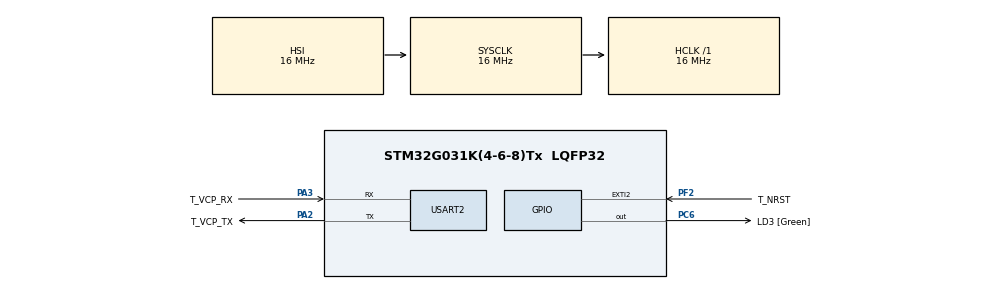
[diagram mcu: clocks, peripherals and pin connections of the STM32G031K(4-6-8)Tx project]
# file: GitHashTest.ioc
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ADC1.Channel-0\#ChannelRegularConversion=ADC_CHANNEL_TEMPSENSOR
ADC1.NbrOfConversionFlag=1
ADC1.Rank-0\#ChannelRegularConversion=1
ADC1.SamplingTime-0\#ChannelRegularConversion=ADC_SAMPLINGTIME_COMMON_1
ADC1.SamplingTimeCommon1=ADC_SAMPLETIME_79CYCLES_5
ADC1.SamplingTimeCommon2=ADC_SAMPLETIME_79CYCLES_5
ADC1.SelectedChannel=ADC_CHANNEL_TEMPSENSOR|ADC_CHANNEL_VREFINT
ADC1.master=1
Mcu.Family=STM32G0
Mcu.Name=STM32G031K(4-6-8)Tx
Mcu.Package=LQFP32
PA13.GPIO_Label=T_JTMS
PA13.Mode=Serial_Wire
PA13.Signal=SYS_SWDIO
PA14-BOOT0.GPIO_Label=T_JTCK
PA14-BOOT0.Mode=Serial_Wire
PA14-BOOT0.Signal=SYS_SWCLK
PA2.GPIO_Label=T_VCP_TX
PA2.GPIO_PuPd=GPIO_PULLUP
PA2.Mode=Asynchronous
PA2.Signal=USART2_TX
PA3.GPIO_Label=T_VCP_RX
PA3.GPIO_PuPd=GPIO_PULLUP
PA3.Mode=Asynchronous
PA3.Signal=USART2_RX
PC14-OSC32_IN\ (PC14).Mode=LSE-External-Oscillator
PC14-OSC32_IN\ (PC14).Signal=RCC_OSC32_IN
PC15-OSC32_OUT\ (PC15).Mode=LSE-External-Oscillator
PC15-OSC32_OUT\ (PC15).Signal=RCC_OSC32_OUT
PC6.GPIO_Label=LD3 [Green]
PC6.Signal=GPIO_Output
PF2\ -\ NRST.GPIO_Label=T_NRST
PF2\ -\ NRST.Signal=GPXTI2
ProjectManager.HeapSize=0x200
ProjectManager.StackSize=0x400
ProjectManager.TargetToolchain=CMake
RCC.AHBFreq_Value=16000000
RCC.CortexFreq_Value=16000000
RCC.EXTERNAL_CLOCK_VALUE=12288000
RCC.HCLKFreq_Value=16000000
RCC.HSE_VALUE=8000000
RCC.HSI_VALUE=16000000
RCC.SYSCLKFreq_VALUE=16000000
RCC.VCOOutputFreq_Value=128000000
USART2.VirtualMode-Asynchronous=VM_ASYNC
USART2.WordLength=WORDLENGTH_8B
VP_ADC1_TempSens_Input.Mode=IN-TempSens
VP_ADC1_Vref_Input.Mode=IN-Vrefint
board=NUCLEO-G031K8

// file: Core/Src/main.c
/* USER CODE BEGIN Header */
/**
  ******************************************************************************
  * @file           : main.c
  * @brief          : Main program body
  ******************************************************************************
  * @attention
  *
  * Copyright (c) 2025 STMicroelectronics.
  * All rights reserved.
  *
  * This software is licensed under terms that can be found in the LICENSE file
  * in the root directory of this software component.
  * If no LICENSE file comes with this software, it is provided AS-IS.
  *
  ******************************************************************************
  */
/* USER CODE END Header */
#include "main.h"
#include "adc.h"
#include "usart.h"
#include "gpio.h"

/* USER CODE BEGIN Includes */
#include "git_hash.h"
#include <stdio.h>
/* USER CODE END Includes */

/* USER CODE BEGIN PD */
#define MAX_SYSTIME_STR_LEN 250
/* USER CODE END PD */

/* USER CODE BEGIN PV */
uint32_t systime = 0;
/* USER CODE END PV */

void SystemClock_Config(void);
/* USER CODE BEGIN PFP */
void send_uart_new_line(UART_HandleTypeDef *, uint32_t);

void send_systime(UART_HandleTypeDef *, uint32_t);
void send_int(UART_HandleTypeDef *, char*, uint32_t);
void send_float(UART_HandleTypeDef *, char*, float);
uint16_t poll_adc_channel(uint32_t);
/* USER CODE END PFP */

/* USER CODE BEGIN 0 */
const char git_hash[GIT_HASH_LEN] = GIT_COMMIT_HASH;
const char git_branch[GIT_BRANCH_LEN] = GIT_BRANCH;
const char cat[] =  "meow";
uint16_t ts_30_val = 0;//TS_CAL_30_VAL;
uint16_t ts_130_val = 0;//TS_CAL_130_VAL;
uint16_t vref_val = 0;//VREF_CAL_30_VAL;
uint16_t temp_sensor = 0, vref_int = 0;
char temp_label[] = "temp raw";
char vref_label[] = "vref raw";
char nice_vref[] = "Vref value";
char nice_temp[] = "Temp value";
float curr_temp, curr_vref;
/* USER CODE END 0 */

int main(void)
{

  /* MCU Configuration--------------------------------------------------------*/

  /* Reset of all peripherals, Initializes the Flash interface and the Systick. */
  HAL_Init();

  /* USER CODE BEGIN Init */
  ts_30_val = TS_CAL_30_VAL;
  ts_130_val = TS_CAL_130_VAL;
  vref_val = VREF_CAL_30_VAL;
  /* USER CODE END Init */

  /* Configure the system clock */
  SystemClock_Config();

  /* Initialize all configured peripherals */
  MX_GPIO_Init();
  MX_USART2_UART_Init();
  MX_ADC1_Init();

  /* Infinite loop */
  /* USER CODE BEGIN WHILE */
  HAL_UART_Transmit(&huart2, (const uint8_t*) cat, sizeof(cat), 100);
  while (1)
  {
    /* USER CODE END WHILE */

    /* USER CODE BEGIN 3 */
    HAL_GPIO_TogglePin(LD3_GPIO_Port, LD3_Pin);
    HAL_UART_Transmit(&huart2, (const uint8_t*) git_hash, sizeof(git_hash), 100);
    send_uart_new_line(&huart2, 1);
    HAL_UART_Transmit(&huart2, (const uint8_t*) git_branch, sizeof(git_branch), 100);
    send_uart_new_line(&huart2, 1);

    send_systime(&huart2, systime);
    // HAL_UART_Transmit(&huart2, (const uint8_t*) systime, sizeof(systime), 100);
    send_uart_new_line(&huart2, 1);

    vref_int = poll_adc_channel(ADC_CHANNEL_VREFINT);
    temp_sensor = poll_adc_channel(ADC_CHANNEL_TEMPSENSOR);

    send_int(&huart2, vref_label, (uint32_t) vref_int);
    send_uart_new_line(&huart2, 1);
    send_int(&huart2, temp_label, (uint32_t) temp_sensor);
    send_uart_new_line(&huart2, 1);
    curr_vref = 3.3 * vref_int/4095;
    curr_temp = 30 + (((ts_130_val-ts_30_val)/100) * (temp_sensor/4095.0));

    send_float(&huart2, nice_temp, curr_temp);
    send_uart_new_line(&huart2, 1);
    send_float(&huart2, nice_vref, curr_vref);
    send_uart_new_line(&huart2, 1);

    // HAL_Delay(500);
  }
  /* USER CODE END 3 */
}

void SystemClock_Config(void)
{
  RCC_OscInitTypeDef RCC_OscInitStruct = {0};
  RCC_ClkInitTypeDef RCC_ClkInitStruct = {0};

  /** Configure the main internal regulator output voltage
  */
  HAL_PWREx_ControlVoltageScaling(PWR_REGULATOR_VOLTAGE_SCALE1);

  /** Initializes the RCC Oscillators according to the specified parameters
  * in the RCC_OscInitTypeDef structure.
  */
  RCC_OscInitStruct.OscillatorType = RCC_OSCILLATORTYPE_HSI;
  RCC_OscInitStruct.HSIState = RCC_HSI_ON;
  RCC_OscInitStruct.HSIDiv = RCC_HSI_DIV1;
  RCC_OscInitStruct.HSICalibrationValue = RCC_HSICALIBRATION_DEFAULT;
  RCC_OscInitStruct.PLL.PLLState = RCC_PLL_NONE;
  if (HAL_RCC_OscConfig(&RCC_OscInitStruct) != HAL_OK)
  {
    Error_Handler();
  }

  /** Initializes the CPU, AHB and APB buses clocks
  */
  RCC_ClkInitStruct.ClockType = RCC_CLOCKTYPE_HCLK|RCC_CLOCKTYPE_SYSCLK
                              |RCC_CLOCKTYPE_PCLK1;
  RCC_ClkInitStruct.SYSCLKSource = RCC_SYSCLKSOURCE_HSI;
  RCC_ClkInitStruct.AHBCLKDivider = RCC_SYSCLK_DIV1;
  RCC_ClkInitStruct.APB1CLKDivider = RCC_HCLK_DIV1;

  if (HAL_RCC_ClockConfig(&RCC_ClkInitStruct, FLASH_LATENCY_0) != HAL_OK)
  {
    Error_Handler();
  }
}

/* USER CODE BEGIN 4 */
void send_uart_new_line(UART_HandleTypeDef * huart, uint32_t timeout){
  const char new_line_char = '\n';
  HAL_UART_Transmit(huart, (const uint8_t*) &new_line_char, sizeof(new_line_char), timeout);
}
void send_systime(UART_HandleTypeDef * huart, uint32_t systime){
  char str[MAX_SYSTIME_STR_LEN];
  uint8_t str_len = MAX_SYSTIME_STR_LEN;
  for(int i = 0; i < MAX_SYSTIME_STR_LEN; i++){
    str[i] = 0;
  }
  sprintf(str, "Systime: %u", (int) systime);
  // find last non null char
  for(int i = 0; i < MAX_SYSTIME_STR_LEN; i++){
    if(str[i] == 0){
      str_len = i;
      i = MAX_SYSTIME_STR_LEN+100;
    }
  }
  HAL_UART_Transmit(huart, (const uint8_t*) &str, str_len, 100);
}

void send_int(UART_HandleTypeDef * huart, char* label, uint32_t value){
  char str[MAX_SYSTIME_STR_LEN];
  uint8_t str_len = MAX_SYSTIME_STR_LEN;
  for(int i = 0; i < MAX_SYSTIME_STR_LEN; i++){
    str[i] = 0;
  }
  sprintf(str, "%s: %u", label, (int) value);
  // find last non null char
  for(int i = 0; i < MAX_SYSTIME_STR_LEN; i++){
    if(str[i] == 0){
      str_len = i;
      i = MAX_SYSTIME_STR_LEN+100;
    }
  }
  HAL_UART_Transmit(huart, (const uint8_t*) &str, str_len, 100);
}

void send_float(UART_HandleTypeDef * huart, char* label, float value){
  char str[MAX_SYSTIME_STR_LEN];
  uint8_t str_len = MAX_SYSTIME_STR_LEN;
  for(int i = 0; i < MAX_SYSTIME_STR_LEN; i++){
    str[i] = 0;
  }
  // Need to do this cuz no sprintf support in native embedded dev envrioment
  // https://stackoverflow.com/questions/905928/using-floats-with-sprintf-in-embedded-c
  int intVal = value;
  int tmpFrac = 1000*(value - intVal);
  sprintf(str, "%s: %d.%04d", label, intVal, tmpFrac);
  // find last non null char
  for(int i = 0; i < MAX_SYSTIME_STR_LEN; i++){
    if(str[i] == 0){
      str_len = i;
      i = MAX_SYSTIME_STR_LEN+100;
    }
  }
  HAL_UART_Transmit(huart, (const uint8_t*) &str, str_len, 100);
}

uint16_t poll_adc_channel(uint32_t channel){

  ADC_ChannelConfTypeDef sConfig = {0};
  sConfig.Channel = channel;//ADC_CHANNEL_TEMPSENSOR;//ADC_CHANNEL_VREFINT
  sConfig.Rank = ADC_REGULAR_RANK_1;
  sConfig.SamplingTime = ADC_SAMPLINGTIME_COMMON_1;
  if (HAL_ADC_ConfigChannel(&hadc1, &sConfig) != HAL_OK)
  {
    Error_Handler();
  }
  HAL_ADC_Start(&hadc1);
  HAL_ADC_PollForConversion(&hadc1, 10);
  uint16_t return_val = HAL_ADC_GetValue(&hadc1);
  HAL_ADC_Stop(&hadc1);
  return return_val;
}
/* USER CODE END 4 */

void Error_Handler(void)
{
  __disable_irq();
  while (1)
  {
  }
}
